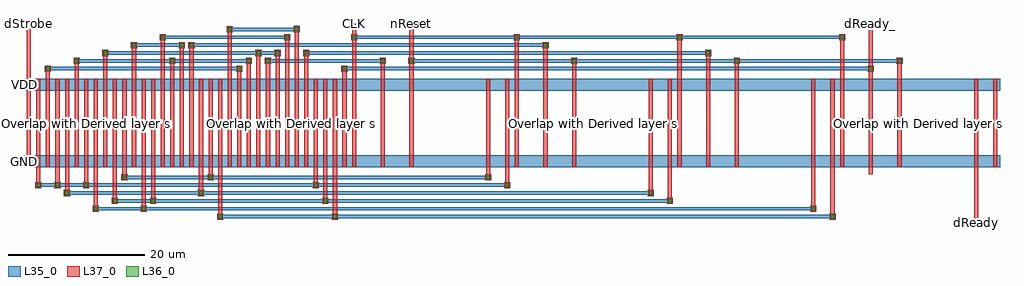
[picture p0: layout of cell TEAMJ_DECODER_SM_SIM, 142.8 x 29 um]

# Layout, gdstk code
import gdstk
lib = gdstk.Library(unit=1e-6, precision=1e-09)
def R(c, l, rs):  # rectangles x0, y0, x1, y1
    for r in rs: c.add(gdstk.rectangle(r[:2], r[2:], *l))
def A(c, l, x, y, w, h, nx, ny, dx, dy):  # array of equal rectangles
    R(c, l, [(x+i*dx, y+j*dy, x+i*dx+w, y+j*dy+h) for i in range(nx) for j in range(ny)])
L35_0 = (35, 0)
L36_0 = (36, 0)
L37_0 = (37, 0)

via1 = lib.new_cell('VIA1')
R(via1, L35_0, [(-0.45,-0.45,0.45,0.45)])
R(via1, L36_0, [(-0.25,-0.25,0.25,0.25)])
R(via1, L37_0, [(-0.4,-0.4,0.4,0.4)])

dfc1_h = lib.new_cell('DFC1_H')
R(dfc1_h, L35_0, [(0,0,23.8,1.8), (0,11.2,23.8,13)])
dfc1_h.add(gdstk.FlexPath([(23.1,13),(23.1,0)], 0.6, ends="flush", simple_path=True, layer=37, datatype=0))  # L37_0
dfc1_h.add(gdstk.FlexPath([(20.3,0),(20.3,13)], 0.6, ends="flush", simple_path=True, layer=37, datatype=0))  # L37_0
dfc1_h.add(gdstk.FlexPath([(9.1,13),(9.1,0)], 0.6, ends="flush", simple_path=True, layer=37, datatype=0))  # L37_0
dfc1_h.add(gdstk.FlexPath([(4.9,0),(4.9,13)], 0.6, ends="flush", simple_path=True, layer=37, datatype=0))  # L37_0
dfc1_h.add(gdstk.FlexPath([(0.7,0),(0.7,13)], 0.6, ends="flush", simple_path=True, layer=37, datatype=0))  # L37_0
dfc1_h.add(gdstk.Label('DFC1', (11.9,6.5), layer=61, texttype=0))
dfc1_h.add(gdstk.Label('QN', (23.1,0), layer=37, texttype=0))
dfc1_h.add(gdstk.Label('Q', (20.3,0), layer=37, texttype=0))
dfc1_h.add(gdstk.Label('RN', (9.1,0), layer=37, texttype=0))
dfc1_h.add(gdstk.Label('D', (4.9,0), layer=37, texttype=0))
dfc1_h.add(gdstk.Label('C', (0.7,0), layer=37, texttype=0))
dfc1_h.add(gdstk.Label('QN', (23.1,13), layer=37, texttype=0))
dfc1_h.add(gdstk.Label('Q', (20.3,13), layer=37, texttype=0))
dfc1_h.add(gdstk.Label('RN', (9.1,13), layer=37, texttype=0))
dfc1_h.add(gdstk.Label('D', (4.9,13), layer=37, texttype=0))
dfc1_h.add(gdstk.Label('C', (0.7,13), layer=37, texttype=0))
dfc1_h.add(gdstk.Label('gnd', (0,0.9), layer=35, texttype=0))
dfc1_h.add(gdstk.Label('vdd', (0,12.1), layer=35, texttype=0))
dfc1_h.add(gdstk.Label('vdd', (23.8,12.1), layer=35, texttype=0))
dfc1_h.add(gdstk.Label('gnd', (23.8,0.9), layer=35, texttype=0))

nor31_h = lib.new_cell('NOR31_H')
R(nor31_h, L35_0, [(0,0,5.6,1.8), (0,11.2,5.6,13)])
nor31_h.add(gdstk.FlexPath([(4.9,0),(4.9,13)], 0.6, ends="flush", simple_path=True, layer=37, datatype=0))  # L37_0
nor31_h.add(gdstk.FlexPath([(3.5,13),(3.5,0)], 0.6, ends="flush", simple_path=True, layer=37, datatype=0))  # L37_0
nor31_h.add(gdstk.FlexPath([(2.1,0),(2.1,13)], 0.6, ends="flush", simple_path=True, layer=37, datatype=0))  # L37_0
nor31_h.add(gdstk.FlexPath([(0.7,0),(0.7,13)], 0.6, ends="flush", simple_path=True, layer=37, datatype=0))  # L37_0
nor31_h.add(gdstk.Label('NOR31', (2.8,6.5), layer=61, texttype=0))
nor31_h.add(gdstk.Label('Q', (4.9,13), layer=37, texttype=0))
nor31_h.add(gdstk.Label('C', (3.5,13), layer=37, texttype=0))
nor31_h.add(gdstk.Label('B', (2.1,13), layer=37, texttype=0))
nor31_h.add(gdstk.Label('A', (0.7,13), layer=37, texttype=0))
nor31_h.add(gdstk.Label('Q', (4.9,0), layer=37, texttype=0))
nor31_h.add(gdstk.Label('C', (3.5,0), layer=37, texttype=0))
nor31_h.add(gdstk.Label('B', (2.1,0), layer=37, texttype=0))
nor31_h.add(gdstk.Label('A', (0.7,0), layer=37, texttype=0))
nor31_h.add(gdstk.Label('vdd', (0,12.1), layer=35, texttype=0))
nor31_h.add(gdstk.Label('vdd', (5.6,12.1), layer=35, texttype=0))
nor31_h.add(gdstk.Label('gnd', (0,0.9), layer=35, texttype=0))
nor31_h.add(gdstk.Label('gnd', (5.6,0.9), layer=35, texttype=0))

nand31_h = lib.new_cell('NAND31_H')
R(nand31_h, L35_0, [(0,0,5.6,1.8), (0,11.2,5.6,13)])
nand31_h.add(gdstk.FlexPath([(4.9,13),(4.9,0)], 0.6, ends="flush", simple_path=True, layer=37, datatype=0))  # L37_0
nand31_h.add(gdstk.FlexPath([(3.5,0),(3.5,13)], 0.6, ends="flush", simple_path=True, layer=37, datatype=0))  # L37_0
nand31_h.add(gdstk.FlexPath([(2.1,13),(2.1,0)], 0.6, ends="flush", simple_path=True, layer=37, datatype=0))  # L37_0
nand31_h.add(gdstk.FlexPath([(0.7,0),(0.7,13)], 0.6, ends="flush", simple_path=True, layer=37, datatype=0))  # L37_0
nand31_h.add(gdstk.Label('NAND31', (2.8,6.5), layer=61, texttype=0))
nand31_h.add(gdstk.Label('Q', (4.9,13), layer=37, texttype=0))
nand31_h.add(gdstk.Label('A', (3.5,13), layer=37, texttype=0))
nand31_h.add(gdstk.Label('B', (2.1,13), layer=37, texttype=0))
nand31_h.add(gdstk.Label('C', (0.7,13), layer=37, texttype=0))
nand31_h.add(gdstk.Label('Q', (4.9,0), layer=37, texttype=0))
nand31_h.add(gdstk.Label('A', (3.5,0), layer=37, texttype=0))
nand31_h.add(gdstk.Label('B', (2.1,0), layer=37, texttype=0))
nand31_h.add(gdstk.Label('C', (0.7,0), layer=37, texttype=0))
nand31_h.add(gdstk.Label('vdd', (0,12.1), layer=35, texttype=0))
nand31_h.add(gdstk.Label('vdd', (5.6,12.1), layer=35, texttype=0))
nand31_h.add(gdstk.Label('gnd', (0,0.9), layer=35, texttype=0))
nand31_h.add(gdstk.Label('gnd', (5.6,0.9), layer=35, texttype=0))

nand21_h = lib.new_cell('NAND21_H')
R(nand21_h, L35_0, [(0,0,4.2,1.8), (0,11.2,4.2,13)])
nand21_h.add(gdstk.FlexPath([(3.5,0),(3.5,13)], 0.6, ends="flush", simple_path=True, layer=37, datatype=0))  # L37_0
nand21_h.add(gdstk.FlexPath([(2.1,13),(2.1,0)], 0.6, ends="flush", simple_path=True, layer=37, datatype=0))  # L37_0
nand21_h.add(gdstk.FlexPath([(0.7,0),(0.7,13)], 0.6, ends="flush", simple_path=True, layer=37, datatype=0))  # L37_0
nand21_h.add(gdstk.Label('NAND21', (2.1,6.5), layer=61, texttype=0))
nand21_h.add(gdstk.Label('Q', (3.5,0), layer=37, texttype=0))
nand21_h.add(gdstk.Label('A', (2.1,0), layer=37, texttype=0))
nand21_h.add(gdstk.Label('B', (0.7,0), layer=37, texttype=0))
nand21_h.add(gdstk.Label('Q', (3.5,13), layer=37, texttype=0))
nand21_h.add(gdstk.Label('A', (2.1,13), layer=37, texttype=0))
nand21_h.add(gdstk.Label('B', (0.7,13), layer=37, texttype=0))
nand21_h.add(gdstk.Label('vdd', (0,12.1), layer=35, texttype=0))
nand21_h.add(gdstk.Label('vdd', (4.2,12.1), layer=35, texttype=0))
nand21_h.add(gdstk.Label('gnd', (0,0.9), layer=35, texttype=0))
nand21_h.add(gdstk.Label('gnd', (4.2,0.9), layer=35, texttype=0))

teamj_decoder_sm = lib.new_cell('TEAMJ_DECODER_SM')
A(teamj_decoder_sm, L35_0, -2.35, 8.85, 22.9, 0.5, 3, 1, 23.8, 0)
A(teamj_decoder_sm, L35_0, -10.75, 12.3, 22.9, 0.5, 3, 1, 23.8, 0)
R(teamj_decoder_sm, L35_0, [(-30.35,-13.95,-14.45,-13.45), (-13.55,-13.95,58.35,-13.45), (-48.55,-12.8,-42.45,-12.3), (-45.75,-11.65,-41.05,-11.15), (-40.15,-11.65,-15.85,-11.15), (-52.75,-10.5,-34.05,-10), (-33.15,-10.5,31.75,-10), (-56.95,-9.35,-55.05,-8.85), (-54.15,-9.35,-50.85,-8.85), (-49.95,-9.35,-17.25,-8.85), (-16.35,-9.35,10.75,-8.85), (-44.35,-8.2,-32.65,-7.7), (-31.75,-8.2,7.95,-7.7), (-51.35,8.85,-38.25,9.35), (-37.35,8.85,-27.05,9.35), (-23.35,8.85,-7.45,9.35), (-24.75,10,-22.85,10.5), (-17.75,10,40.15,10.5), (-42.95,11.15,-36.85,11.65), (-34.55,11.15,16.35,11.65), (-38.75,12.3,-21.45,12.8), (-28.95,13.45,-20.05,13.95)])
A(teamj_decoder_sm, L37_0, -11.5, 6.5, 0.6, 5.65, 4, 1, 23.8, 0)
A(teamj_decoder_sm, L37_0, -3.1, 6.5, 0.6, 2.2, 4, 1, 23.8, 0)
R(teamj_decoder_sm, L37_0, [(-31.1,-13.3,-30.5,-6.5), (-14.3,-13.3,-13.7,-6.5), (58.5,-13.3,59.1,-6.5), (-49.3,-12.15,-48.7,-6.5), (-42.3,-12.15,-41.7,-6.5), (55.7,-12.15,56.3,-6.5), (-46.5,-11,-45.9,-6.5), (-40.9,-11,-40.3,-6.5), (-15.7,-11,-15.1,-6.5), (34.7,-11,35.3,-6.5), (-53.5,-9.85,-52.9,-6.5), (-33.9,-9.85,-33.3,-6.5), (31.9,-9.85,32.5,-6.5), (-57.7,-8.7,-57.1,-6.5), (-54.9,-8.7,-54.3,-6.5), (-50.7,-8.7,-50.1,-6.5), (-17.1,-8.7,-16.5,-6.5), (10.9,-8.7,11.5,-6.5), (-45.1,-7.55,-44.5,-6.5), (-32.5,-7.55,-31.9,-6.5), (8.1,-7.55,8.7,-6.5), (79.5,-7.5,80.1,-6.5), (-59.1,6.5,-58.5,7.5), (-56.3,6.5,-55.7,7.55), (-52.1,6.5,-51.5,8.7), (-47.9,6.5,-47.3,9.85), (-43.7,6.5,-43.1,11), (-39.5,6.5,-38.9,12.15), (-38.1,6.5,-37.5,8.7), (-36.7,6.5,-36.1,11), (-35.3,6.5,-34.7,11), (-29.7,6.5,-29.1,13.3), (-28.3,6.5,-27.7,7.55), (-26.9,6.5,-26.3,8.7), (-25.5,6.5,-24.9,9.85), (-24.1,6.5,-23.5,8.7), (-22.7,6.5,-22.1,9.85), (-21.3,6.5,-20.7,12.15), (-19.9,6.5,-19.3,13.35), (-18.5,6.5,-17.9,9.85), (-12.9,6.5,-12.3,7.55), (-7.3,6.5,-6.7,8.7), (16.5,6.5,17.1,11), (40.3,6.5,40.9,9.85), (64.1,6.5,64.7,7.6), (64.1,8.35,64.7,9), (-3.1,9.5,-2.5,10.5), (-11.5,12.95,-10.9,14)])
teamj_decoder_sm.add(gdstk.FlexPath([(55.55,-12.55),(-41.55,-12.55)], 0.5, ends="flush", simple_path=True, layer=35, datatype=0))  # L35_0
teamj_decoder_sm.add(gdstk.FlexPath([(34.55,-11.4),(-14.95,-11.4)], 0.5, ends="flush", simple_path=True, layer=35, datatype=0))  # L35_0
teamj_decoder_sm.add(gdstk.FlexPath([(63.95,7.95),(-12.15,7.95)], 0.5, ends="flush", simple_path=True, layer=35, datatype=0))  # L35_0
teamj_decoder_sm.add(gdstk.FlexPath([(-25.65,10.25),(-47.15,10.25)], 0.5, ends="flush", simple_path=True, layer=35, datatype=0))  # L35_0
teamj_decoder_sm.add(gdstk.FlexPath([(-28.45,7.95),(-55.55,7.95)], 0.5, ends="flush", simple_path=True, layer=35, datatype=0))  # L35_0
teamj_decoder_sm.add(gdstk.FlexPath([(64.4,-7.5),(64.4,-6.5)], 0.6, ends="flush", simple_path=True, layer=37, datatype=0))  # L37_0
teamj_decoder_sm.add(gdstk.Reference(via1, (68.6,9.1)))
teamj_decoder_sm.add(gdstk.Reference(via1, (58.8,-13.7)))
teamj_decoder_sm.add(gdstk.Reference(via1, (-14,-13.7)))
teamj_decoder_sm.add(gdstk.Reference(via1, (-30.8,-13.7)))
teamj_decoder_sm.add(gdstk.Reference(via1, (56,-12.55)))
teamj_decoder_sm.add(gdstk.Reference(via1, (-42,-12.55)))
teamj_decoder_sm.add(gdstk.Reference(via1, (-49,-12.55)))
teamj_decoder_sm.add(gdstk.Reference(via1, (35,-11.4)))
teamj_decoder_sm.add(gdstk.Reference(via1, (-15.4,-11.4)))
teamj_decoder_sm.add(gdstk.Reference(via1, (-40.6,-11.4)))
teamj_decoder_sm.add(gdstk.Reference(via1, (-46.2,-11.4)))
teamj_decoder_sm.add(gdstk.Reference(via1, (32.2,-10.25)))
teamj_decoder_sm.add(gdstk.Reference(via1, (-33.6,-10.25)))
teamj_decoder_sm.add(gdstk.Reference(via1, (-53.2,-10.25)))
teamj_decoder_sm.add(gdstk.Reference(via1, (11.2,-9.1)))
teamj_decoder_sm.add(gdstk.Reference(via1, (-16.8,-9.1)))
teamj_decoder_sm.add(gdstk.Reference(via1, (-54.6,-9.1)))
teamj_decoder_sm.add(gdstk.Reference(via1, (-50.4,-9.1)))
teamj_decoder_sm.add(gdstk.Reference(via1, (-57.4,-9.1)))
teamj_decoder_sm.add(gdstk.Reference(via1, (8.4,-7.95)))
teamj_decoder_sm.add(gdstk.Reference(via1, (-32.2,-7.95)))
teamj_decoder_sm.add(gdstk.Reference(via1, (-44.8,-7.95)))
teamj_decoder_sm.add(gdstk.Reference(via1, (60.2,12.55)))
teamj_decoder_sm.add(gdstk.Reference(via1, (36.4,12.55)))
teamj_decoder_sm.add(gdstk.Reference(via1, (12.6,12.55)))
teamj_decoder_sm.add(gdstk.Reference(via1, (-11.2,12.55)))
teamj_decoder_sm.add(gdstk.Reference(via1, (44.8,9.1)))
teamj_decoder_sm.add(gdstk.Reference(via1, (21,9.1)))
teamj_decoder_sm.add(gdstk.Reference(via1, (-2.8,9.1)))
teamj_decoder_sm.add(gdstk.Reference(via1, (64.4,7.95)))
teamj_decoder_sm.add(gdstk.Reference(via1, (-12.6,7.95)))
teamj_decoder_sm.add(gdstk.Reference(via1, (40.6,10.25)))
teamj_decoder_sm.add(gdstk.Reference(via1, (-18.2,10.25)))
teamj_decoder_sm.add(gdstk.Reference(via1, (-7,9.1)))
teamj_decoder_sm.add(gdstk.Reference(via1, (-23.8,9.1)))
teamj_decoder_sm.add(gdstk.Reference(via1, (-36.4,11.4)))
teamj_decoder_sm.add(gdstk.Reference(via1, (-35,11.4)))
teamj_decoder_sm.add(gdstk.Reference(via1, (16.8,11.4)))
teamj_decoder_sm.add(gdstk.Reference(via1, (-19.6,13.75)))
teamj_decoder_sm.add(gdstk.Reference(via1, (-29.4,13.7)))
teamj_decoder_sm.add(gdstk.Reference(via1, (-21,12.55)))
teamj_decoder_sm.add(gdstk.Reference(via1, (-39.2,12.55)))
teamj_decoder_sm.add(gdstk.Reference(via1, (-43.4,11.4)))
teamj_decoder_sm.add(gdstk.Reference(via1, (-22.4,10.25)))
teamj_decoder_sm.add(gdstk.Reference(via1, (-25.2,10.25)))
teamj_decoder_sm.add(gdstk.Reference(via1, (-47.6,10.25)))
teamj_decoder_sm.add(gdstk.Reference(via1, (-37.8,9.1)))
teamj_decoder_sm.add(gdstk.Reference(via1, (-26.6,9.1)))
teamj_decoder_sm.add(gdstk.Reference(via1, (-51.8,9.1)))
teamj_decoder_sm.add(gdstk.Reference(via1, (-28,7.95)))
teamj_decoder_sm.add(gdstk.Reference(via1, (-56,7.95)))
teamj_decoder_sm.add(gdstk.Reference(dfc1_h, (59.5,-6.5)))
teamj_decoder_sm.add(gdstk.Reference(dfc1_h, (35.7,-6.5)))
teamj_decoder_sm.add(gdstk.Reference(dfc1_h, (11.9,-6.5)))
teamj_decoder_sm.add(gdstk.Reference(dfc1_h, (-11.9,-6.5)))
teamj_decoder_sm.add(gdstk.Reference(nor31_h, (-17.5,-6.5)))
teamj_decoder_sm.add(gdstk.Reference(nand31_h, (-23.1,-6.5)))
teamj_decoder_sm.add(gdstk.Reference(nand31_h, (-28.7,-6.5)))
teamj_decoder_sm.add(gdstk.Reference(nand31_h, (-34.3,-6.5)))
teamj_decoder_sm.add(gdstk.Reference(nand21_h, (-38.5,-6.5)))
teamj_decoder_sm.add(gdstk.Reference(nand21_h, (-42.7,-6.5)))
teamj_decoder_sm.add(gdstk.Reference(nand21_h, (-46.9,-6.5)))
teamj_decoder_sm.add(gdstk.Reference(nand21_h, (-51.1,-6.5)))
teamj_decoder_sm.add(gdstk.Reference(nand21_h, (-55.3,-6.5)))
teamj_decoder_sm.add(gdstk.Reference(nand21_h, (-59.5,-6.5)))
teamj_decoder_sm.add(gdstk.Label('dReady_', (64.4,-7.5), layer=37, texttype=0))
teamj_decoder_sm.add(gdstk.Label('dReady_', (64.4,9), layer=37, texttype=0))
teamj_decoder_sm.add(gdstk.Label('dStrobe', (-58.8,7.5), layer=37, texttype=0))
teamj_decoder_sm.add(gdstk.Label('CLK', (-11.2,14), layer=37, texttype=0))
teamj_decoder_sm.add(gdstk.Label('nReset', (-2.8,10.5), layer=37, texttype=0))
teamj_decoder_sm.add(gdstk.Label('dReady', (79.8,-7.5), layer=37, texttype=0))
teamj_decoder_sm.add(gdstk.Label('GND', (83.3,-5.6), layer=35, texttype=0))
teamj_decoder_sm.add(gdstk.Label('VDD', (83.3,5.6), layer=35, texttype=0))
teamj_decoder_sm.add(gdstk.Label('GND', (-59.5,-5.6), layer=35, texttype=0))
teamj_decoder_sm.add(gdstk.Label('VDD', (-59.5,5.6), layer=35, texttype=0))

teamj_decoder_sm_sim = lib.new_cell('TEAMJ_DECODER_SM_SIM')
teamj_decoder_sm_sim.add(gdstk.FlexPath([(74.3,-15.5),(74.3,-8.5)], 0.6, ends="flush", simple_path=True, layer=37, datatype=0))  # L37_0
teamj_decoder_sm_sim.add(gdstk.FlexPath([(58.9,8),(58.9,13.5)], 0.6, ends="flush", simple_path=True, layer=37, datatype=0))  # L37_0
teamj_decoder_sm_sim.add(gdstk.FlexPath([(-8.3,9.5),(-8.3,13.5)], 0.6, ends="flush", simple_path=True, layer=37, datatype=0))  # L37_0
teamj_decoder_sm_sim.add(gdstk.FlexPath([(-16.7,13),(-16.7,13.5)], 0.6, ends="flush", simple_path=True, layer=37, datatype=0))  # L37_0
teamj_decoder_sm_sim.add(gdstk.FlexPath([(-64.3,13.5),(-64.3,6.5)], 0.6, ends="flush", simple_path=True, layer=37, datatype=0))  # L37_0
teamj_decoder_sm_sim.add(gdstk.Reference(teamj_decoder_sm, (-5.5,-1)))
teamj_decoder_sm_sim.add(gdstk.Label('Overlap with Derived layer subs', (-62.9,-1), layer=63, texttype=0))
teamj_decoder_sm_sim.add(gdstk.Label('Overlap with Derived layer allsubs', (-62.9,-1), layer=63, texttype=0))
teamj_decoder_sm_sim.add(gdstk.Label('Overlap with Derived layer subs', (-58.7,-1), layer=63, texttype=0))
teamj_decoder_sm_sim.add(gdstk.Label('Overlap with Derived layer allsubs', (-58.7,-1), layer=63, texttype=0))
teamj_decoder_sm_sim.add(gdstk.Label('Overlap with Derived layer subs', (-54.5,-1), layer=63, texttype=0))
teamj_decoder_sm_sim.add(gdstk.Label('Overlap with Derived layer allsubs', (-54.5,-1), layer=63, texttype=0))
teamj_decoder_sm_sim.add(gdstk.Label('Overlap with Derived layer subs', (-50.3,-1), layer=63, texttype=0))
teamj_decoder_sm_sim.add(gdstk.Label('Overlap with Derived layer allsubs', (-50.3,-1), layer=63, texttype=0))
teamj_decoder_sm_sim.add(gdstk.Label('Overlap with Derived layer subs', (-46.1,-1), layer=63, texttype=0))
teamj_decoder_sm_sim.add(gdstk.Label('Overlap with Derived layer allsubs', (-46.1,-1), layer=63, texttype=0))
teamj_decoder_sm_sim.add(gdstk.Label('Overlap with Derived layer subs', (-41.9,-1), layer=63, texttype=0))
teamj_decoder_sm_sim.add(gdstk.Label('Overlap with Derived layer allsubs', (-41.9,-1), layer=63, texttype=0))
teamj_decoder_sm_sim.add(gdstk.Label('Overlap with Derived layer subs', (-37,-1), layer=63, texttype=0))
teamj_decoder_sm_sim.add(gdstk.Label('Overlap with Derived layer allsubs', (-37,-1), layer=63, texttype=0))
teamj_decoder_sm_sim.add(gdstk.Label('Overlap with Derived layer subs', (-31.4,-1), layer=63, texttype=0))
teamj_decoder_sm_sim.add(gdstk.Label('Overlap with Derived layer allsubs', (-31.4,-1), layer=63, texttype=0))
teamj_decoder_sm_sim.add(gdstk.Label('Overlap with Derived layer subs', (-25.8,-1), layer=63, texttype=0))
teamj_decoder_sm_sim.add(gdstk.Label('Overlap with Derived layer allsubs', (-25.8,-1), layer=63, texttype=0))
teamj_decoder_sm_sim.add(gdstk.Label('Overlap with Derived layer subs', (-20.2,-1), layer=63, texttype=0))
teamj_decoder_sm_sim.add(gdstk.Label('Overlap with Derived layer allsubs', (-20.2,-1), layer=63, texttype=0))
teamj_decoder_sm_sim.add(gdstk.Label('Overlap with Derived layer subs', (-5.5,-1), layer=63, texttype=0))
teamj_decoder_sm_sim.add(gdstk.Label('Overlap with Derived layer allsubs', (-5.5,-1), layer=63, texttype=0))
teamj_decoder_sm_sim.add(gdstk.Label('Overlap with Derived layer subs', (18.3,-1), layer=63, texttype=0))
teamj_decoder_sm_sim.add(gdstk.Label('Overlap with Derived layer allsubs', (18.3,-1), layer=63, texttype=0))
teamj_decoder_sm_sim.add(gdstk.Label('Overlap with Derived layer subs', (42.1,-1), layer=63, texttype=0))
teamj_decoder_sm_sim.add(gdstk.Label('Overlap with Derived layer allsubs', (42.1,-1), layer=63, texttype=0))
teamj_decoder_sm_sim.add(gdstk.Label('Overlap with Derived layer subs', (65.9,-1), layer=63, texttype=0))
teamj_decoder_sm_sim.add(gdstk.Label('Overlap with Derived layer allsubs', (65.9,-1), layer=63, texttype=0))
teamj_decoder_sm_sim.add(gdstk.Label('dReady_', (58.9,13.5), layer=37, texttype=0))
teamj_decoder_sm_sim.add(gdstk.Label('dReady', (74.3,-15.5), layer=37, texttype=0))
teamj_decoder_sm_sim.add(gdstk.Label('nReset', (-8.3,13.5), layer=37, texttype=0))
teamj_decoder_sm_sim.add(gdstk.Label('CLK', (-16.7,13.5), layer=37, texttype=0))
teamj_decoder_sm_sim.add(gdstk.Label('dStrobe', (-64.3,13.5), layer=37, texttype=0))
teamj_decoder_sm_sim.add(gdstk.Label('GND', (-65,-6.6), layer=35, texttype=0))
teamj_decoder_sm_sim.add(gdstk.Label('VDD', (-65,4.6), layer=35, texttype=0))

lib.write_gds('TEAMJ_DECODER_SM_SIM.gds')
